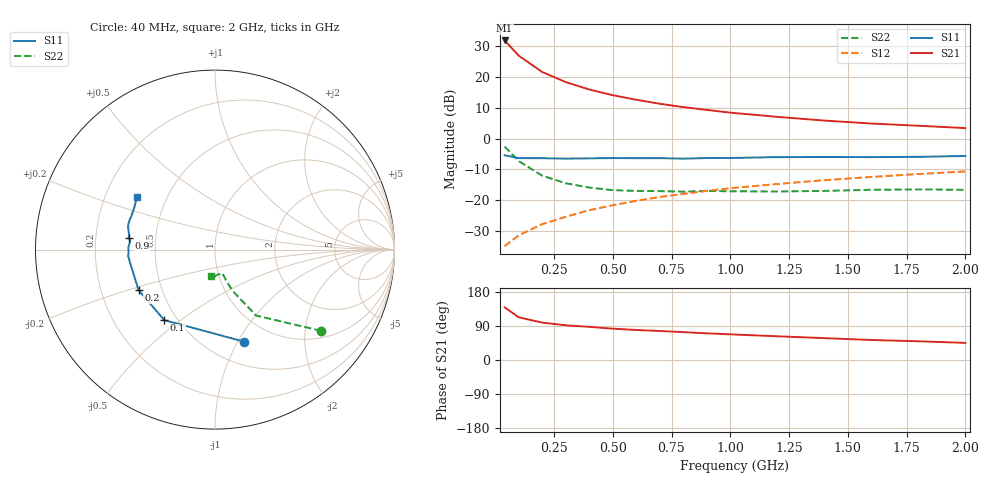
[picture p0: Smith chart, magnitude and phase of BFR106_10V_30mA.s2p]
! Filename:  BFR106F.S2P  Version:  2.0
! Philips part #: BFR106  Date: Jun 1990
! Bias condition: Vce=10V, Ic=30mA
#  MHz  S  MA  R  50
! Freq  S11  S21  S12  S22  !GUM [dB]
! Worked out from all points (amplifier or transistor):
!   16 points, 40 MHz to 2 GHz, reference 50 ohm
!   highest |S21| = 31.9 dB at 40 MHz (marker M1)
!   |S21| within 3 dB of that: start of sweep to 76.47 MHz
!   unconditionally stable (mu >= 1): 343.7 MHz to 1.942 GHz
!   at 200 MHz: K = 0.86, MSG = 24.7 dB, |S12| = -27.7 dB
!   at 800 MHz: K = 1.08, MAG = 12.4 dB, |S12| = -17.9 dB
!   at 2 GHz: K = 0.99, MSG = 7.0 dB, |S12| = -10.6 dB
!   S11 on the Smith chart (normalised r, x): 40 MHz: 0.74, -1.06; 100 MHz: 0.43, -0.44; 200 MHz: 0.37, -0.22; 900 MHz: 0.35, +0.06; 2 GHz: 0.34, +0.27
40  0.537 -72.6  39.27 139.0  0.018 64.2  0.745 -37.4
100  0.484 -125.7  22.25 112.7  0.027 57.1  0.433 -58.1
200  0.482 -152.1  12.07 98.7  0.041 61.6  0.251 -66.8
300  0.474 -165.3  8.282 91.6  0.054 64.6  0.189 -70.0
400  0.479 -171.3  6.288 87.5  0.069 67.4  0.161 -71.2
500  0.485 -175.7  5.076 82.7  0.083 69.2  0.146 -72.2
600  0.482 -178.5  4.281 79.2  0.098 70.0  0.142 -74.3
700  0.483 178.5  3.69 76.5  0.113 70.5  0.141 -74.7
800  0.474 174.0  3.257 73.5  0.127 70.4  0.138 -75.2
900  0.485 172.3  2.926 70.4  0.142 70.8  0.142 -75.6
1000  0.486 170.3  2.645 67.7  0.157 69.9  0.14 -77.2
1200  0.502 164.9  2.26 62.6  0.184 68.9  0.139 -81.1
1400  0.504 161.6  1.967 57.7  0.212 67.3  0.142 -85.9
1600  0.502 157.6  1.761 52.8  0.239 66.8  0.148 -89.2
1800  0.507 152.4  1.621 49.4  0.267 65.3  0.15 -93.7
2000  0.524 146.2  1.484 45.2  0.294 64.1  0.148 -98.9
